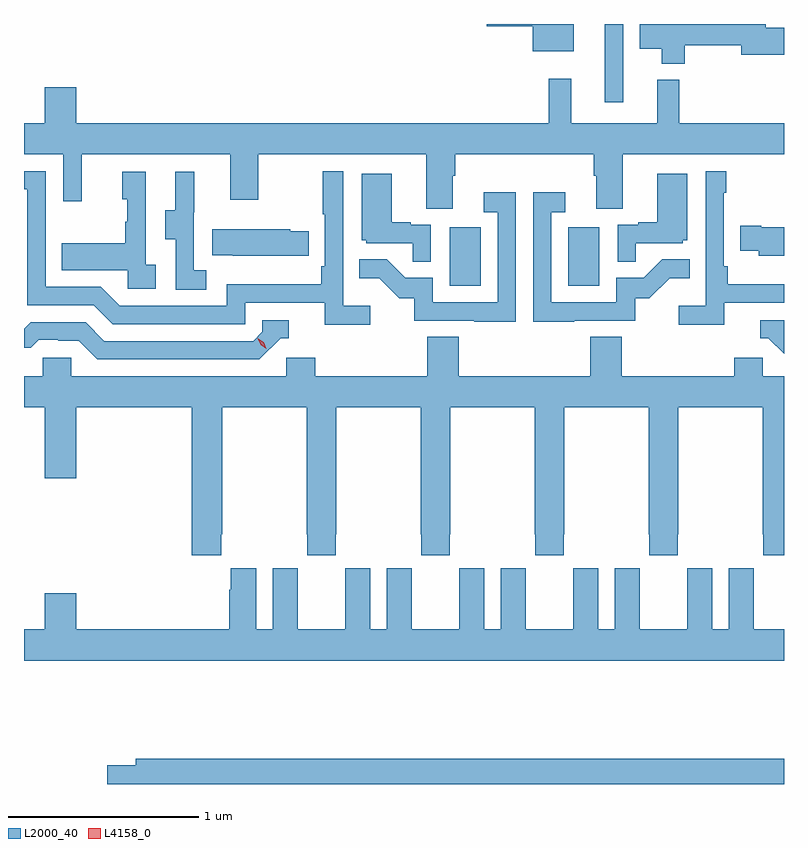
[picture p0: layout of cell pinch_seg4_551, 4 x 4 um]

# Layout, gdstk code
import gdstk
lib = gdstk.Library(unit=1e-6, precision=1e-09)
def R(c, l, rs):  # rectangles x0, y0, x1, y1
    for r in rs: c.add(gdstk.rectangle(r[:2], r[2:], *l))
def P(c, l, *ps):  # polygons
    for p in ps: c.add(gdstk.Polygon(p, *l))
L2000_40 = (2000, 40)
L4158_0 = (4158, 0)

pinch_seg4_551 = lib.new_cell('pinch_seg4_551')
R(pinch_seg4_551, L2000_40, [(1090.214,784.14,1090.378,784.447), (1090.838,784.14,1091.002,784.447), (1091.03,785.106,1091.127,785.518)])
P(pinch_seg4_551, L2000_40, [(1091.452,785.406),(1091.75,785.406),(1091.75,785.356),(1091.974,785.356),(1091.974,785.498),(1091.878,785.498),(1091.878,785.518),(1091.216,785.518),(1091.216,785.387),(1091.33,785.387),(1091.33,785.309),(1091.452,785.309)],
  [(1090.867,785.518),(1090.41,785.518),(1090.41,785.507),(1090.652,785.507),(1090.652,785.375),(1090.867,785.375)],
  [(1088.084,784.996),(1087.974,784.996),(1087.974,784.832),(1088.181,784.832),(1088.181,784.584),(1088.279,784.584),(1088.279,784.832),(1089.059,784.832),(1089.059,784.593),(1089.207,784.593),(1089.207,784.832),(1090.091,784.832),(1090.091,784.546),(1090.231,784.546),(1090.231,784.72),(1090.244,784.72),(1090.244,784.832),(1090.973,784.832),(1090.973,784.72),(1090.985,784.72),(1090.985,784.546),(1091.125,784.546),(1091.125,784.832),(1091.974,784.832),(1091.974,784.996),(1091.423,784.996),(1091.423,785.224),(1091.306,785.224),(1091.306,784.996),(1090.853,784.996),(1090.853,785.23),(1090.735,785.23),(1090.735,784.996),(1088.248,784.996),(1088.248,785.185),(1088.084,785.185)],
  [(1089.796,784.036),(1089.654,784.036),(1089.654,784.744),(1089.546,784.744),(1089.546,784.516),(1089.558,784.516),(1089.558,784.243),(1089.538,784.243),(1089.538,784.147),(1089.042,784.147),(1089.042,784.035),(1088.478,784.035),(1088.379,784.134),(1088.088,784.134),(1088.088,784.743),(1087.974,784.743),(1087.974,784.647),(1087.992,784.647),(1087.992,784.038),(1088.342,784.038),(1088.441,783.939),(1089.138,783.939),(1089.138,784.05),(1089.557,784.05),(1089.557,783.934),(1089.796,783.934)],
  [(1091.66,784.05),(1091.974,784.05),(1091.974,784.147),(1091.678,784.147),(1091.678,784.243),(1091.658,784.243),(1091.658,784.631),(1091.671,784.631),(1091.671,784.744),(1091.562,784.744),(1091.562,784.036),(1091.421,784.036),(1091.421,783.934),(1091.66,783.934)],
  [(1088.932,784.223),(1088.868,784.223),(1088.868,784.527),(1088.87,784.527),(1088.87,784.741),(1088.771,784.741),(1088.771,784.539),(1088.717,784.539),(1088.717,784.384),(1088.772,784.384),(1088.772,784.12),(1088.932,784.12)],
  [(1088.668,784.25),(1088.616,784.25),(1088.616,784.741),(1088.492,784.741),(1088.492,784.596),(1088.518,784.596),(1088.518,784.478),(1088.508,784.478),(1088.508,784.363),(1088.173,784.363),(1088.173,784.223),(1088.52,784.223),(1088.52,784.125),(1088.668,784.125)],
  [(1090.116,784.461),(1090.01,784.461),(1090.01,784.474),(1089.91,784.474),(1089.91,784.729),(1089.752,784.729),(1089.752,784.38),(1089.774,784.38),(1089.774,784.365),(1090.021,784.365),(1090.021,784.267),(1090.116,784.267)],
  [(1091.195,784.365),(1091.442,784.365),(1091.442,784.38),(1091.464,784.38),(1091.464,784.729),(1091.306,784.729),(1091.306,784.474),(1091.207,784.474),(1091.207,784.461),(1091.1,784.461),(1091.1,784.267),(1091.195,784.267)],
  [(1090.871,783.957),(1091.19,783.957),(1091.19,784.074),(1091.266,784.074),(1091.373,784.181),(1091.477,784.181),(1091.477,784.28),(1091.333,784.28),(1091.235,784.182),(1091.091,784.182),(1091.091,784.053),(1090.749,784.053),(1090.749,784.527),(1090.822,784.527),(1090.822,784.633),(1090.653,784.633),(1090.653,783.952),(1090.871,783.952)],
  [(1090.563,784.633),(1090.395,784.633),(1090.395,784.527),(1090.467,784.527),(1090.467,784.053),(1090.125,784.053),(1090.125,784.182),(1089.981,784.182),(1089.883,784.28),(1089.739,784.28),(1089.739,784.181),(1089.843,784.181),(1089.95,784.074),(1090.027,784.074),(1090.027,783.957),(1090.345,783.957),(1090.345,783.952),(1090.563,783.952)],
  [(1091.974,784.447),(1091.854,784.447),(1091.854,784.455),(1091.743,784.455),(1091.743,784.325),(1091.841,784.325),(1091.841,784.298),(1091.974,784.298)],
  [(1089.473,784.428),(1089.375,784.428),(1089.375,784.438),(1088.965,784.438),(1088.965,784.301),(1089.073,784.301),(1089.073,784.298),(1089.473,784.298)],
  [(1089.324,783.864),(1089.367,783.864),(1089.367,783.96),(1089.228,783.96),(1089.228,783.897),(1089.18,783.849),(1088.397,783.849),(1088.298,783.948),(1088.009,783.948),(1087.974,783.913),(1087.974,783.813),(1088.009,783.813),(1088.051,783.855),(1088.154,783.855),(1088.154,783.852),(1088.261,783.852),(1088.36,783.753),(1089.213,783.753)],
  [(1091.974,783.96),(1091.849,783.96),(1091.849,783.864),(1091.892,783.864),(1091.974,783.782)],
  [(1089.011,782.833),(1089.018,782.833),(1089.018,783.5),(1089.463,783.5),(1089.463,782.833),(1089.465,782.833),(1089.465,782.721),(1089.615,782.721),(1089.615,782.833),(1089.618,782.833),(1089.618,783.5),(1090.063,783.5),(1090.063,782.833),(1090.065,782.833),(1090.065,782.721),(1090.215,782.721),(1090.215,782.833),(1090.218,782.833),(1090.218,783.5),(1090.663,783.5),(1090.663,782.833),(1090.665,782.833),(1090.665,782.721),(1090.815,782.721),(1090.815,782.833),(1090.818,782.833),(1090.818,783.5),(1091.263,783.5),(1091.263,782.833),(1091.265,782.833),(1091.265,782.721),(1091.415,782.721),(1091.415,782.833),(1091.418,782.833),(1091.418,783.5),(1091.863,783.5),(1091.863,782.833),(1091.865,782.833),(1091.865,782.721),(1091.974,782.721),(1091.974,783.664),(1091.862,783.664),(1091.862,783.762),(1091.711,783.762),(1091.711,783.664),(1091.12,783.664),(1091.12,783.872),(1090.955,783.872),(1090.955,783.664),(1090.262,783.664),(1090.262,783.872),(1090.097,783.872),(1090.097,783.664),(1089.506,783.664),(1089.506,783.762),(1089.354,783.762),(1089.354,783.664),(1088.223,783.664),(1088.223,783.762),(1088.073,783.762),(1088.073,783.664),(1087.974,783.664),(1087.974,783.5),(1088.084,783.5),(1088.084,783.126),(1088.248,783.126),(1088.248,783.5),(1088.858,783.5),(1088.858,782.721),(1089.011,782.721)],
  [(1089.884,782.653),(1089.884,782.332),(1089.796,782.332),(1089.796,782.653),(1089.666,782.653),(1089.666,782.54),(1089.665,782.54),(1089.665,782.332),(1089.415,782.332),(1089.415,782.54),(1089.414,782.54),(1089.414,782.653),(1089.284,782.653),(1089.284,782.332),(1089.196,782.332),(1089.196,782.653),(1089.062,782.653),(1089.062,782.54),(1089.053,782.54),(1089.053,782.332),(1088.248,782.332),(1088.248,782.521),(1088.084,782.521),(1088.084,782.332),(1087.974,782.332),(1087.974,782.168),(1091.974,782.168),(1091.974,782.332),(1091.815,782.332),(1091.815,782.54),(1091.814,782.54),(1091.814,782.653),(1091.684,782.653),(1091.684,782.332),(1091.596,782.332),(1091.596,782.653),(1091.466,782.653),(1091.466,782.54),(1091.465,782.54),(1091.465,782.332),(1091.215,782.332),(1091.215,782.54),(1091.214,782.54),(1091.214,782.653),(1091.084,782.653),(1091.084,782.332),(1090.996,782.332),(1090.996,782.653),(1090.866,782.653),(1090.866,782.54),(1090.865,782.54),(1090.865,782.332),(1090.615,782.332),(1090.615,782.54),(1090.614,782.54),(1090.614,782.653),(1090.484,782.653),(1090.484,782.332),(1090.396,782.332),(1090.396,782.653),(1090.266,782.653),(1090.266,782.54),(1090.265,782.54),(1090.265,782.332),(1090.015,782.332),(1090.015,782.54),(1090.014,782.54),(1090.014,782.653)],
  [(1091.974,781.652),(1088.561,781.652),(1088.561,781.616),(1088.412,781.616),(1088.412,781.518),(1091.974,781.518)])
P(pinch_seg4_551, L4158_0, [(1089.25,783.81),(1089.22,783.83),(1089.204,783.863),(1089.204,783.863),(1089.204,783.863),(1089.235,783.843),(1089.25,783.81),(1089.25,783.81)])

lib.write_gds('pinch_seg4_551.gds')
